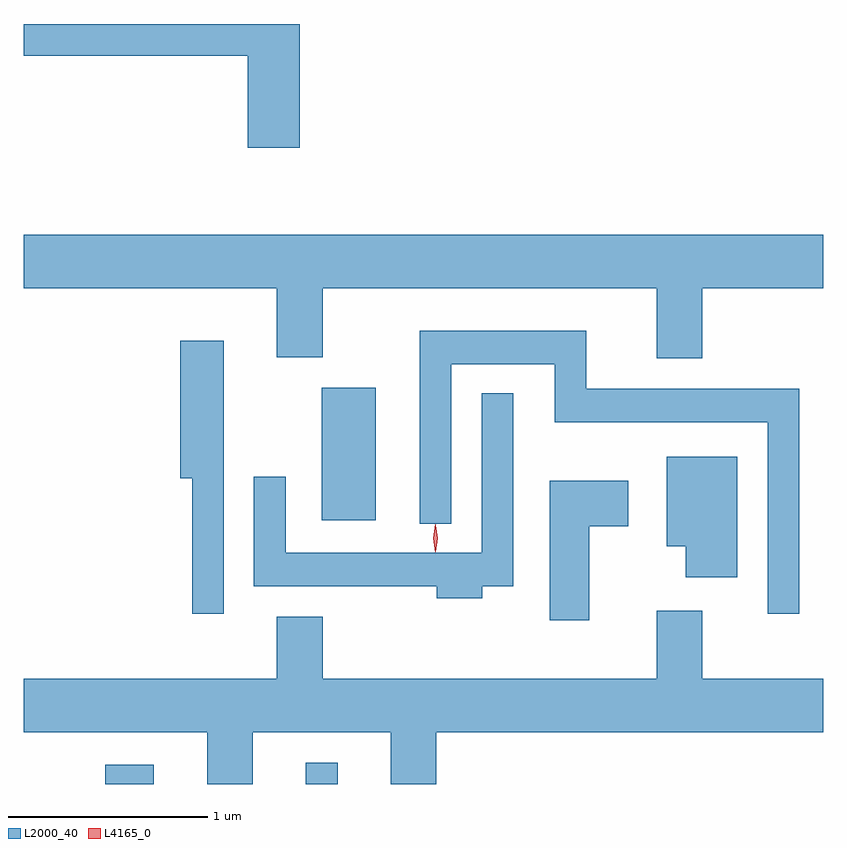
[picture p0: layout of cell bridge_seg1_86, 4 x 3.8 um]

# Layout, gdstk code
import gdstk
lib = gdstk.Library(unit=1e-6, precision=1e-09)
def R(c, l, rs):  # rectangles x0, y0, x1, y1
    for r in rs: c.add(gdstk.rectangle(r[:2], r[2:], *l))
def P(c, l, *ps):  # polygons
    for p in ps: c.add(gdstk.Polygon(p, *l))
L2000_40 = (2000, 40)
L4165_0 = (4165, 0)

bridge_seg1_86 = lib.new_cell('bridge_seg1_86')
R(bridge_seg1_86, L2000_40, [(1248.331,863.797,1248.574,863.894), (1249.336,863.797,1249.494,863.903), (1249.416,865.116,1249.684,865.779)])
P(bridge_seg1_86, L2000_40, [(1249.304,867.599),(1247.924,867.599),(1247.924,867.441),(1249.046,867.441),(1249.046,866.981),(1249.304,866.981)],
  [(1251.319,866.276),(1251.924,866.276),(1251.924,866.544),(1247.924,866.544),(1247.924,866.276),(1249.191,866.276),(1249.191,865.931),(1249.419,865.931),(1249.419,866.276),(1251.091,866.276),(1251.091,865.926),(1251.319,865.926)],
  [(1251.804,865.774),(1250.739,865.774),(1250.739,866.064),(1249.906,866.064),(1249.906,865.098),(1250.064,865.098),(1250.064,865.896),(1250.581,865.896),(1250.581,865.606),(1251.646,865.606),(1251.646,864.648),(1251.804,864.648)],
  [(1248.924,866.014),(1248.706,866.014),(1248.706,865.326),(1248.766,865.326),(1248.766,864.648),(1248.924,864.648)],
  [(1250.219,864.786),(1250.374,864.786),(1250.374,865.753),(1250.216,865.753),(1250.216,864.954),(1249.234,864.954),(1249.234,865.333),(1249.076,865.333),(1249.076,864.786),(1249.991,864.786),(1249.991,864.726),(1250.219,864.726)],
  [(1251.494,865.434),(1251.141,865.434),(1251.141,864.986),(1251.236,864.986),(1251.236,864.831),(1251.494,864.831)],
  [(1250.754,865.086),(1250.949,865.086),(1250.949,865.314),(1250.556,865.314),(1250.556,864.616),(1250.754,864.616)],
  [(1249.069,864.056),(1249.761,864.056),(1249.761,863.797),(1249.989,863.797),(1249.989,864.056),(1251.924,864.056),(1251.924,864.324),(1251.319,864.324),(1251.319,864.664),(1251.091,864.664),(1251.091,864.324),(1249.419,864.324),(1249.419,864.634),(1249.191,864.634),(1249.191,864.324),(1247.924,864.324),(1247.924,864.056),(1248.841,864.056),(1248.841,863.797),(1249.069,863.797)])
P(bridge_seg1_86, L4165_0, [(1249.982,864.957),(1249.982,864.957),(1249.972,865.027),(1249.982,865.096),(1249.982,865.096),(1249.983,865.096),(1249.992,865.027),(1249.983,864.957)],
  [(1249.985,864.959),(1249.984,864.96),(1249.975,865.026),(1249.984,865.092),(1249.985,865.093),(1249.985,865.092),(1249.995,865.026),(1249.985,864.96)])

lib.write_gds('bridge_seg1_86.gds')
